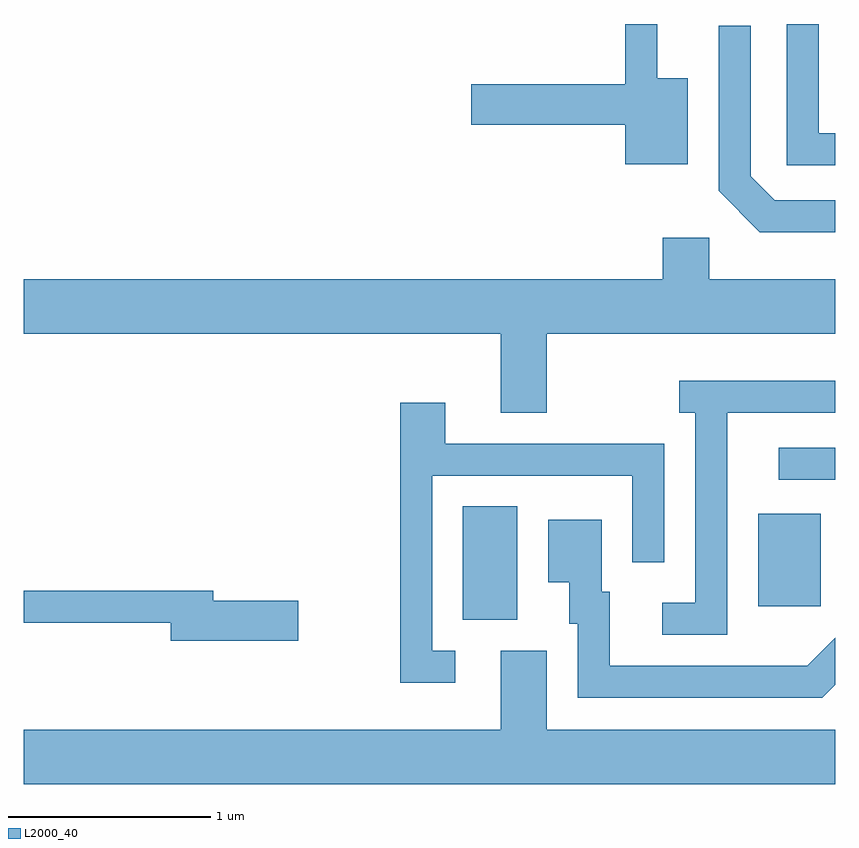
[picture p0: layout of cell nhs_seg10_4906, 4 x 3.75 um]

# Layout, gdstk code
import gdstk
lib = gdstk.Library(unit=1e-6, precision=1e-09)
def R(c, l, rs):  # rectangles x0, y0, x1, y1
    for r in rs: c.add(gdstk.rectangle(r[:2], r[2:], *l))
def P(c, l, *ps):  # polygons
    for p in ps: c.add(gdstk.Polygon(p, *l))
L2000_40 = (2000, 40)

nhs_seg10_4906 = lib.new_cell('nhs_seg10_4906')
R(nhs_seg10_4906, L2000_40, [(331.776,2143.586,332.044,2144.144), (333.231,2143.651,333.539,2144.109), (333.333,2144.276,333.611,2144.434)])
P(nhs_seg10_4906, L2000_40, [(332.884,2146.254),(332.734,2146.254),(332.734,2146.522),(332.576,2146.522),(332.576,2146.224),(331.816,2146.224),(331.816,2146.026),(332.576,2146.026),(332.576,2145.831),(332.884,2145.831)],
  [(333.611,2145.984),(333.529,2145.984),(333.529,2146.522),(333.371,2146.522),(333.371,2145.826),(333.611,2145.826)],
  [(333.611,2145.654),(333.312,2145.654),(333.194,2145.772),(333.194,2146.513),(333.036,2146.513),(333.036,2145.699),(333.239,2145.496),(333.611,2145.496)],
  [(332.189,2144.996),(333.611,2144.996),(333.611,2145.264),(332.989,2145.264),(332.989,2145.469),(332.761,2145.469),(332.761,2145.264),(329.611,2145.264),(329.611,2144.996),(331.961,2144.996),(331.961,2144.606),(332.189,2144.606)],
  [(333.079,2144.606),(333.611,2144.606),(333.611,2144.764),(332.843,2144.764),(332.843,2144.606),(332.921,2144.606),(332.921,2143.669),(332.758,2143.669),(332.758,2143.511),(333.079,2143.511)],
  [(331.738,2143.434),(331.624,2143.434),(331.624,2144.296),(332.611,2144.296),(332.611,2143.868),(332.769,2143.868),(332.769,2144.454),(331.689,2144.454),(331.689,2144.654),(331.466,2144.654),(331.466,2143.276),(331.738,2143.276)],
  [(333.611,2143.265),(333.611,2143.497),(333.474,2143.359),(332.499,2143.359),(332.499,2143.724),(332.459,2143.724),(332.459,2144.079),(332.196,2144.079),(332.196,2143.771),(332.301,2143.771),(332.301,2143.566),(332.341,2143.566),(332.341,2143.201),(333.547,2143.201)],
  [(330.964,2143.679),(330.544,2143.679),(330.544,2143.729),(329.611,2143.729),(329.611,2143.571),(330.336,2143.571),(330.336,2143.481),(330.964,2143.481)],
  [(333.611,2143.044),(332.189,2143.044),(332.189,2143.434),(331.961,2143.434),(331.961,2143.044),(329.611,2143.044),(329.611,2142.776),(333.611,2142.776)])

lib.write_gds('nhs_seg10_4906.gds')
